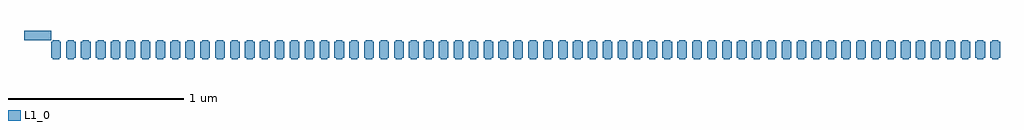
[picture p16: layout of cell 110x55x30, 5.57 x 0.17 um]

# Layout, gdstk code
import gdstk
lib = gdstk.Library(unit=1e-6, precision=1e-09)
def R(c, l, rs):  # rectangles x0, y0, x1, y1
    for r in rs: c.add(gdstk.rectangle(r[:2], r[2:], *l))
def P(c, l, *ps):  # polygons
    for p in ps: c.add(gdstk.Polygon(p, *l))
L1_0 = (1, 0)

c_110x55single = lib.new_cell('110x55single')
P(c_110x55single, L1_0, [(0,0),(0.01,0),(0.01,-0.01),(0.045,-0.01),(0.045,0),(0.055,0),(0.055,0.09),(0.045,0.09),(0.045,0.1),(0.01,0.1),(0.01,0.09),(0,0.09)])

c_110x55x30 = lib.new_cell('110x55x30')
R(c_110x55x30, L1_0, [(-0.155,0.11,0,0.165)])
r = gdstk.Reference(c_110x55single, (0,0.01)); r.repetition = gdstk.Repetition(64, 1, v1=(0.085,0), v2=(0,0)); c_110x55x30.add(r)

lib.write_gds('110x55x30.gds')
